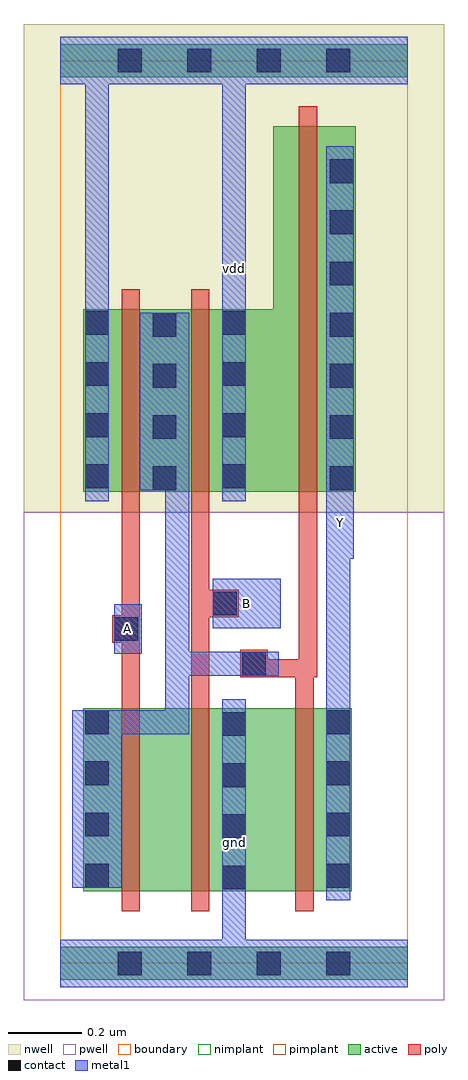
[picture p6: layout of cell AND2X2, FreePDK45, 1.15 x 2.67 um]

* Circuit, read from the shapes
.subckt AND2X2 A B Y gnd vdd
M1 n1 A n2 gnd nfet w=0.5u l=0.05u
M2 gnd B n1 gnd nfet w=0.5u l=0.05u
M3 Y n2 gnd gnd nfet w=0.5u l=0.05u
M4 n2 A vdd vdd pfet w=0.5u l=0.05u
M5 vdd B n2 vdd pfet w=0.5u l=0.05u
M6 Y n2 vdd vdd pfet w=1u l=0.05u
.ends

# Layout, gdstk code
import gdstk
lib = gdstk.Library(unit=1e-6, precision=5e-10)
def R(c, l, rs):  # rectangles x0, y0, x1, y1
    for r in rs: c.add(gdstk.rectangle(r[:2], r[2:], *l))
def A(c, l, x, y, w, h, nx, ny, dx, dy):  # array of equal rectangles
    R(c, l, [(x+i*dx, y+j*dy, x+i*dx+w, y+j*dy+h) for i in range(nx) for j in range(ny)])
def P(c, l, *ps):  # polygons
    for p in ps: c.add(gdstk.Polygon(p, *l))
active = (1, 0)
pwell = (2, 0)
nwell = (3, 0)
nimplant = (4, 0)
pimplant = (5, 0)
poly = (9, 0)
contact = (10, 0)
metal1 = (11, 0)
boundary = (235, 0)

and2x2 = lib.new_cell('AND2X2')
R(and2x2, active, [(0,-0.045,0.95,0.045), (0.0625,0.1975,0.1675,0.6975), (0.1675,0.1975,0.2175,0.6975), (0.2175,0.1975,0.3575,0.6975), (0.3575,0.1975,0.4075,0.6975), (0.4075,0.1975,0.6425,0.6975), (0.6425,0.1975,0.6925,0.6975), (0.6925,0.1975,0.7975,0.6975), (0.0625,1.29,0.1675,1.79), (0.1675,1.29,0.2175,1.79), (0.2175,1.29,0.3575,1.79), (0.3575,1.29,0.4075,1.79), (0.6525,1.29,0.7025,2.29), (0.7025,1.29,0.8075,2.29), (0,2.425,0.95,2.515)])
P(and2x2, active, [(0.5825,1.79),(0.5825,2.29),(0.6525,2.29),(0.6525,1.29),(0.4075,1.29),(0.4075,1.79)])
R(and2x2, pwell, [(-0.1,-0.1,1.05,1.235)])
R(and2x2, nwell, [(-0.1,1.235,1.05,2.57)])
R(and2x2, nimplant, [(0.0625,0.1975,0.1675,0.6975), (0.1675,0.1975,0.2175,0.6975), (0.2175,0.1975,0.3575,0.6975), (0.3575,0.1975,0.4075,0.6975), (0.4075,0.1975,0.6425,0.6975), (0.6425,0.1975,0.6925,0.6975), (0.6925,0.1975,0.7975,0.6975), (0,2.425,0.95,2.515)])
R(and2x2, pimplant, [(0,-0.045,0.95,0.045), (0.0625,1.29,0.1675,1.79), (0.1675,1.29,0.2175,1.79), (0.2175,1.29,0.3575,1.79), (0.3575,1.29,0.4075,1.79), (0.6525,1.29,0.7025,2.29), (0.7025,1.29,0.8075,2.29)])
P(and2x2, pimplant, [(0.5825,1.79),(0.5825,2.29),(0.6525,2.29),(0.6525,1.29),(0.4075,1.29),(0.4075,1.79)])
R(and2x2, poly, [(0.1675,0.1425,0.2175,0.1975), (0.3575,0.1425,0.4075,0.1975), (0.6425,0.1425,0.6925,0.1975), (0.1675,0.1975,0.2175,0.6975), (0.3575,0.1975,0.4075,0.6975), (0.6425,0.1975,0.6925,0.6975), (0.1675,1.29,0.2175,1.79), (0.3575,1.29,0.4075,1.79), (0.6525,1.29,0.7025,2.29), (0.1675,1.79,0.2175,1.845), (0.3575,1.79,0.4075,1.845), (0.6525,2.29,0.7025,2.345)])
P(and2x2, poly, [(0.6425,0.7825),(0.4925,0.7825),(0.4925,0.8575),(0.5675,0.8575),(0.5675,0.8325),(0.6525,0.8325),(0.6525,1.29),(0.7025,1.29),(0.7025,0.7825),(0.6925,0.7825),(0.6925,0.6975),(0.6425,0.6975)],
  [(0.3575,1.29),(0.4075,1.29),(0.4075,1.0225),(0.4875,1.0225),(0.4875,0.9475),(0.4075,0.9475),(0.4075,0.6975),(0.3575,0.6975)],
  [(0.1675,0.8775),(0.1425,0.8775),(0.1425,0.9525),(0.1675,0.9525),(0.1675,1.29),(0.2175,1.29),(0.2175,0.6975),(0.1675,0.6975)])
A(and2x2, contact, 0.1575, -0.0325, 0.065, 0.065, 4, 2, 0.19, 2.47)
A(and2x2, contact, 0.4425, 0.2025, 0.065, 0.065, 1, 4, 0, 0.14)
A(and2x2, contact, 0.0675, 0.2075, 0.065, 0.065, 1, 4, 0, 0.14)
A(and2x2, contact, 0.7275, 0.2075, 0.065, 0.065, 1, 4, 0, 0.14)
A(and2x2, contact, 0.2525, 1.295, 0.065, 0.065, 1, 4, 0, 0.14)
A(and2x2, contact, 0.7375, 1.295, 0.065, 0.065, 1, 7, 0, 0.14)
A(and2x2, contact, 0.0675, 1.3, 0.065, 0.065, 1, 4, 0, 0.14)
A(and2x2, contact, 0.4425, 1.3, 0.065, 0.065, 1, 4, 0, 0.14)
R(and2x2, contact, [(0.4975,0.7875,0.5625,0.8525), (0.1475,0.8825,0.2125,0.9475), (0.4175,0.9525,0.4825,1.0175)])
R(and2x2, metal1, [(0.1475,0.8475,0.2225,0.9825), (0.4175,0.9175,0.6025,1.0525)])
P(and2x2, metal1, [(0.7275,2.235),(0.8025,2.235),(0.8025,1.1075),(0.7925,1.1075),(0.7925,0.1725),(0.7275,0.1725)],
  [(0.3525,0.6275),(0.1675,0.6275),(0.1675,0.2075),(0.0325,0.2075),(0.0325,0.6925),(0.2875,0.6925),(0.2875,1.295),(0.2175,1.295),(0.2175,1.78),(0.3525,1.78),(0.3525,0.8525),(0.5975,0.8525),(0.5975,0.7875),(0.3525,0.7875)],
  [(0,-0.065),(0,0.065),(0.4425,0.065),(0.4425,0.7225),(0.5075,0.7225),(0.5075,0.065),(0.95,0.065),(0.95,-0.065)],
  [(0,2.405),(0,2.535),(0.95,2.535),(0.95,2.405),(0.5075,2.405),(0.5075,1.265),(0.4425,1.265),(0.4425,2.405),(0.1325,2.405),(0.1325,1.265),(0.0675,1.265),(0.0675,2.405)])
R(and2x2, boundary, [(0,0,0.95,2.47)])
and2x2.add(gdstk.Label('Y', (0.765,1.205), layer=11, texttype=237))
and2x2.add(gdstk.Label('B', (0.51,0.985), layer=11, texttype=237))
and2x2.add(gdstk.Label('A', (0.185,0.915), layer=11, texttype=237))
and2x2.add(gdstk.Label('gnd', (0.475,0.33), layer=11, texttype=237))
and2x2.add(gdstk.Label('vdd', (0.475,1.9), layer=11, texttype=237))

lib.write_gds('AND2X2.gds')
